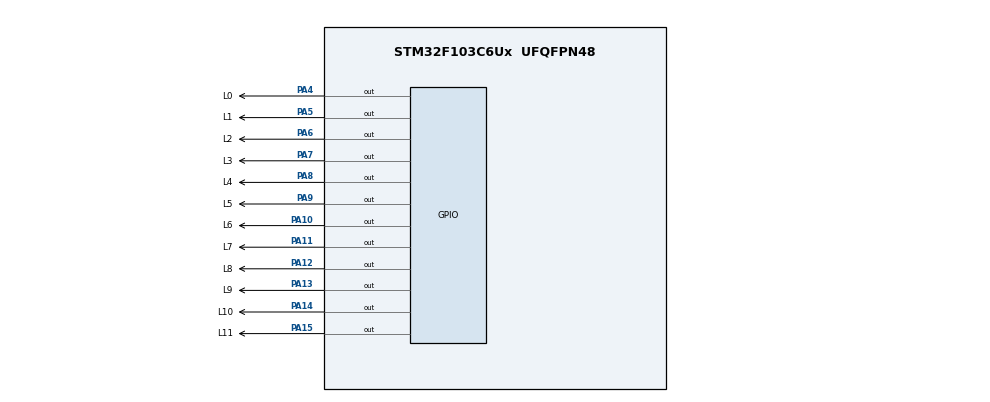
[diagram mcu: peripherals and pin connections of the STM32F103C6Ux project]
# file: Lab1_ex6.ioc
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Mcu.Family=STM32F1
Mcu.Name=STM32F103C6Ux
Mcu.Package=UFQFPN48
NVIC.PriorityGroup=NVIC_PRIORITYGROUP_4
PA10.GPIO_Label=L6
PA10.Signal=GPIO_Output
PA11.GPIO_Label=L7
PA11.Signal=GPIO_Output
PA12.GPIO_Label=L8
PA12.Signal=GPIO_Output
PA13.GPIO_Label=L9
PA13.Signal=GPIO_Output
PA14.GPIO_Label=L10
PA14.Signal=GPIO_Output
PA15.GPIO_Label=L11
PA15.Signal=GPIO_Output
PA4.GPIO_Label=L0
PA4.Signal=GPIO_Output
PA5.GPIO_Label=L1
PA5.Signal=GPIO_Output
PA6.GPIO_Label=L2
PA6.Signal=GPIO_Output
PA7.GPIO_Label=L3
PA7.Signal=GPIO_Output
PA8.GPIO_Label=L4
PA8.Signal=GPIO_Output
PA9.GPIO_Label=L5
PA9.Signal=GPIO_Output
ProjectManager.HeapSize=0x200
ProjectManager.StackSize=0x400
ProjectManager.TargetToolchain=STM32CubeIDE
RCC.APB1Freq_Value=8000000
RCC.APB2Freq_Value=8000000
VP_SYS_VS_ND.Mode=No_Debug
board=custom

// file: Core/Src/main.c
/* USER CODE BEGIN Header */
/**
  ******************************************************************************
  * @file           : main.c
  * @brief          : Main program body
  ******************************************************************************
  * @attention
  *
  * <h2><center>&copy; Copyright (c) 2023 STMicroelectronics.
  * All rights reserved.</center></h2>
  *
  * This software component is licensed by ST under BSD 3-Clause license,
  * the "License"; You may not use this file except in compliance with the
  * License. You may obtain a copy of the License at:
  *                        opensource.org/licenses/BSD-3-Clause
  *
  ******************************************************************************
  */
/* USER CODE END Header */
#include "main.h"

void SystemClock_Config(void);
static void MX_GPIO_Init(void);

/* USER CODE BEGIN 0 */
void clearAllClock () {
	HAL_GPIO_WritePin(GPIOA, L0_Pin, 0);
	HAL_GPIO_WritePin(GPIOA, L1_Pin, 0);
	HAL_GPIO_WritePin(GPIOA, L2_Pin, 0);
	HAL_GPIO_WritePin(GPIOA, L3_Pin, 0);
	HAL_GPIO_WritePin(GPIOA, L4_Pin, 0);
	HAL_GPIO_WritePin(GPIOA, L5_Pin, 0);
	HAL_GPIO_WritePin(GPIOA, L6_Pin, 0);
	HAL_GPIO_WritePin(GPIOA, L7_Pin, 0);
	HAL_GPIO_WritePin(GPIOA, L8_Pin, 0);
	HAL_GPIO_WritePin(GPIOA, L9_Pin, 0);
	HAL_GPIO_WritePin(GPIOA, L10_Pin, 0);
	HAL_GPIO_WritePin(GPIOA, L11_Pin, 0);
}
void setNumberOnClock(int num) {
	switch(num) {
	case 0:
		HAL_GPIO_WritePin(GPIOA, L0_Pin, 1);
		break;
	case 1:
		HAL_GPIO_WritePin(GPIOA, L1_Pin, 1);
		break;
	case 2:
		HAL_GPIO_WritePin(GPIOA, L2_Pin, 1);
		break;
	case 3:
		HAL_GPIO_WritePin(GPIOA, L3_Pin, 1);
		break;
	case 4:
		HAL_GPIO_WritePin(GPIOA, L4_Pin, 1);
		break;
	case 5:
		HAL_GPIO_WritePin(GPIOA, L5_Pin, 1);
		break;
	case 6:
		HAL_GPIO_WritePin(GPIOA, L6_Pin, 1);
		break;
	case 7:
		HAL_GPIO_WritePin(GPIOA, L7_Pin, 1);
		break;
	case 8:
		HAL_GPIO_WritePin(GPIOA, L8_Pin, 1);
		break;
	case 9:
		HAL_GPIO_WritePin(GPIOA, L9_Pin, 1);
		break;
	case 10:
		HAL_GPIO_WritePin(GPIOA, L10_Pin, 1);
		break;
	case 11:
		HAL_GPIO_WritePin(GPIOA, L11_Pin, 1);
		break;
	}
}
void clearNumberOnClock(int num) {
	switch(num) {
		case 0:
			HAL_GPIO_WritePin(GPIOA, L0_Pin, 0);
			break;
		case 1:
			HAL_GPIO_WritePin(GPIOA, L1_Pin, 0);
			break;
		case 2:
			HAL_GPIO_WritePin(GPIOA, L2_Pin, 0);
			break;
		case 3:
			HAL_GPIO_WritePin(GPIOA, L3_Pin, 0);
			break;
		case 4:
			HAL_GPIO_WritePin(GPIOA, L4_Pin, 0);
			break;
		case 5:
			HAL_GPIO_WritePin(GPIOA, L5_Pin, 0);
			break;
		case 6:
			HAL_GPIO_WritePin(GPIOA, L6_Pin, 0);
			break;
		case 7:
			HAL_GPIO_WritePin(GPIOA, L7_Pin, 0);
			break;
		case 8:
			HAL_GPIO_WritePin(GPIOA, L8_Pin, 0);
			break;
		case 9:
			HAL_GPIO_WritePin(GPIOA, L9_Pin, 0);
			break;
		case 10:
			HAL_GPIO_WritePin(GPIOA, L10_Pin, 0);
			break;
		case 11:
			HAL_GPIO_WritePin(GPIOA, L11_Pin, 0);
			break;
		}
}
int analog_encoder(int num) {
	return (num / 5);
}
/* USER CODE END 0 */

int main(void)
{

  /* MCU Configuration--------------------------------------------------------*/

  /* Reset of all peripherals, Initializes the Flash interface and the Systick. */
  HAL_Init();

  /* Configure the system clock */
  SystemClock_Config();

  /* Initialize all configured peripherals */
  MX_GPIO_Init();
  /* USER CODE BEGIN 2 */

  clearAllClock();
//  int i = 0;
  int delay_unit = 100;
  int hour = 0;
  int minute = 2;
  int second = 3;
  int minute_encode = 0;
  int second_encode = 0;
  /* USER CODE END 2 */

  /* Infinite loop */
  /* USER CODE BEGIN WHILE */
  while (1)
  {
	  HAL_GPIO_WritePin(GPIOA, L0_Pin, 1);
	  	HAL_GPIO_WritePin(GPIOA, L1_Pin, 1);
	  	HAL_GPIO_WritePin(GPIOA, L2_Pin, 1);
	  	HAL_GPIO_WritePin(GPIOA, L3_Pin, 1);
	  	HAL_GPIO_WritePin(GPIOA, L4_Pin, 1);
	  	HAL_GPIO_WritePin(GPIOA, L5_Pin, 1);
	  	HAL_GPIO_WritePin(GPIOA, L6_Pin, 1);
	  	HAL_GPIO_WritePin(GPIOA, L7_Pin, 1);
	  	HAL_GPIO_WritePin(GPIOA, L8_Pin, 1);
	  	HAL_GPIO_WritePin(GPIOA, L9_Pin, 1);
	  	HAL_GPIO_WritePin(GPIOA, L10_Pin, 1);
	  	HAL_GPIO_WritePin(GPIOA, L11_Pin, 1);
    /* USER CODE END WHILE */

  }
}

void SystemClock_Config(void)
{
  RCC_OscInitTypeDef RCC_OscInitStruct = {0};
  RCC_ClkInitTypeDef RCC_ClkInitStruct = {0};

  /** Initializes the RCC Oscillators according to the specified parameters
  * in the RCC_OscInitTypeDef structure.
  */
  RCC_OscInitStruct.OscillatorType = RCC_OSCILLATORTYPE_HSI;
  RCC_OscInitStruct.HSIState = RCC_HSI_ON;
  RCC_OscInitStruct.HSICalibrationValue = RCC_HSICALIBRATION_DEFAULT;
  RCC_OscInitStruct.PLL.PLLState = RCC_PLL_NONE;
  if (HAL_RCC_OscConfig(&RCC_OscInitStruct) != HAL_OK)
  {
    Error_Handler();
  }
  /** Initializes the CPU, AHB and APB buses clocks
  */
  RCC_ClkInitStruct.ClockType = RCC_CLOCKTYPE_HCLK|RCC_CLOCKTYPE_SYSCLK
                              |RCC_CLOCKTYPE_PCLK1|RCC_CLOCKTYPE_PCLK2;
  RCC_ClkInitStruct.SYSCLKSource = RCC_SYSCLKSOURCE_HSI;
  RCC_ClkInitStruct.AHBCLKDivider = RCC_SYSCLK_DIV1;
  RCC_ClkInitStruct.APB1CLKDivider = RCC_HCLK_DIV1;
  RCC_ClkInitStruct.APB2CLKDivider = RCC_HCLK_DIV1;

  if (HAL_RCC_ClockConfig(&RCC_ClkInitStruct, FLASH_LATENCY_0) != HAL_OK)
  {
    Error_Handler();
  }
}

static void MX_GPIO_Init(void)
{
  GPIO_InitTypeDef GPIO_InitStruct = {0};

  /* GPIO Ports Clock Enable */
  __HAL_RCC_GPIOA_CLK_ENABLE();

  /*Configure GPIO pin Output Level */
  HAL_GPIO_WritePin(GPIOA, L0_Pin|L1_Pin|L2_Pin|L3_Pin
                          |L4_Pin|L5_Pin|L6_Pin|L7_Pin
                          |L8_Pin|L9_Pin|L10_Pin|L11_Pin, GPIO_PIN_RESET);

  /*Configure GPIO pins : L0_Pin L1_Pin L2_Pin L3_Pin
                           L4_Pin L5_Pin L6_Pin L7_Pin
                           L8_Pin L9_Pin L10_Pin L11_Pin */
  GPIO_InitStruct.Pin = L0_Pin|L1_Pin|L2_Pin|L3_Pin
                          |L4_Pin|L5_Pin|L6_Pin|L7_Pin
                          |L8_Pin|L9_Pin|L10_Pin|L11_Pin;
  GPIO_InitStruct.Mode = GPIO_MODE_OUTPUT_PP;
  GPIO_InitStruct.Pull = GPIO_NOPULL;
  GPIO_InitStruct.Speed = GPIO_SPEED_FREQ_LOW;
  HAL_GPIO_Init(GPIOA, &GPIO_InitStruct);

}

void Error_Handler(void)
{
  __disable_irq();
  while (1)
  {
  }
}

/************************ (C) COPYRIGHT STMicroelectronics *****END OF FILE****/
